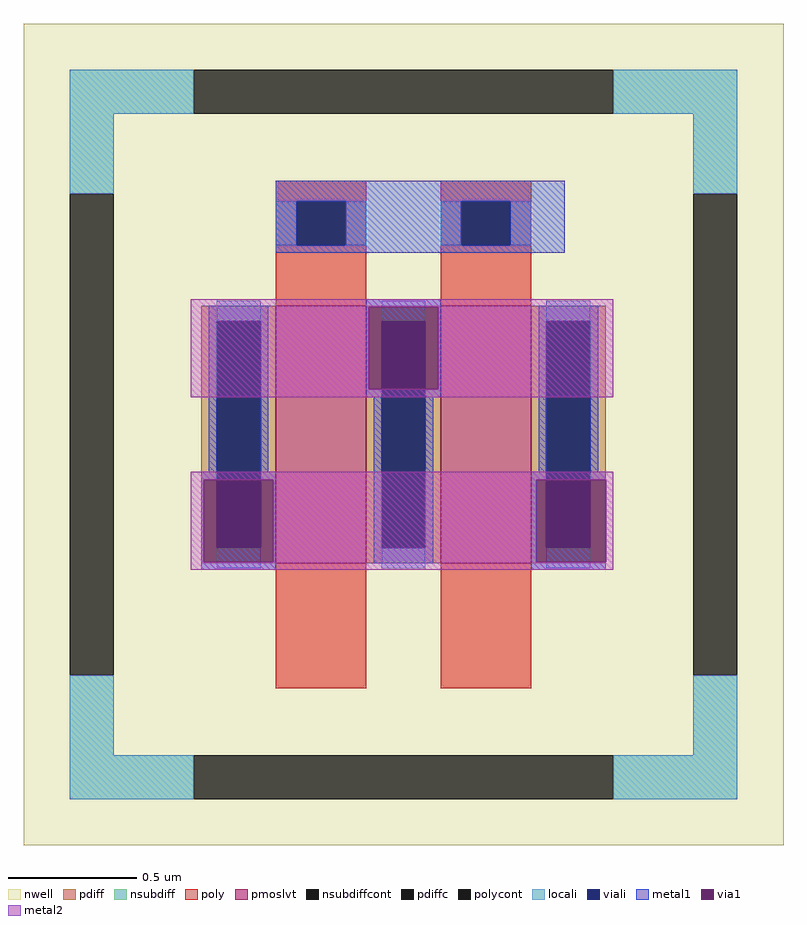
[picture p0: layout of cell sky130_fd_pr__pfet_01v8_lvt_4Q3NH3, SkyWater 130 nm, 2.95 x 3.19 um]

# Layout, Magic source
magic
tech sky130A
magscale 1 2
<< nwell >>
rect -296 -320 294 318
<< pmoslvt >>
rect -100 -101 -30 99
rect 28 -101 98 99
<< pdiff >>
rect -158 87 -100 99
rect -158 -89 -146 87
rect -112 -89 -100 87
rect -158 -101 -100 -89
rect -30 87 28 99
rect -30 -89 -18 87
rect 16 -89 28 87
rect -30 -101 28 -89
rect 98 87 156 99
rect 98 -89 110 87
rect 144 -89 156 87
rect 98 -101 156 -89
<< pdiffc >>
rect -146 -89 -112 87
rect -18 -89 16 87
rect 110 -89 144 87
<< nsubdiff >>
rect -260 248 -164 282
rect 162 248 258 282
rect -260 186 -226 248
rect 224 186 258 248
rect -260 -250 -226 -188
rect 224 -250 258 -188
rect -260 -284 -164 -250
rect 162 -284 258 -250
<< nsubdiffcont >>
rect -164 248 162 282
rect -260 -188 -226 186
rect 224 -188 258 186
rect -164 -284 162 -250
<< poly >>
rect -100 180 -30 196
rect -100 146 -84 180
rect -46 146 -30 180
rect -100 99 -30 146
rect 28 180 98 196
rect 28 146 44 180
rect 82 146 98 180
rect 28 99 98 146
rect -100 -198 -30 -101
rect 28 -198 98 -101
<< polycont >>
rect -84 146 -46 180
rect 44 146 82 180
<< locali >>
rect -260 248 -164 282
rect 162 248 258 282
rect -260 186 -226 248
rect 224 186 258 248
rect -100 146 -84 180
rect -46 146 -30 180
rect 28 146 44 180
rect 82 146 98 180
rect -146 87 -112 103
rect -146 -105 -112 -89
rect -18 87 16 103
rect -18 -105 16 -89
rect 110 87 144 103
rect 110 -105 144 -89
rect -260 -250 -226 -188
rect 224 -250 258 -188
rect -260 -284 -164 -250
rect 162 -284 258 -250
<< viali >>
rect -84 146 -46 180
rect 44 146 82 180
rect -146 -89 -112 87
rect -18 -89 16 87
rect 110 -89 144 87
<< metal1 >>
rect -100 180 124 196
rect -100 146 -84 180
rect -46 146 44 180
rect 82 146 124 180
rect -100 140 124 146
rect -152 87 -106 99
rect -152 -30 -146 87
rect -158 -36 -146 -30
rect -112 -30 -106 87
rect -30 98 28 104
rect -30 34 -28 98
rect 26 34 28 98
rect -30 28 -18 34
rect -112 -36 -100 -30
rect -158 -100 -156 -36
rect -102 -100 -100 -36
rect -158 -106 -100 -100
rect -24 -89 -18 28
rect 16 28 28 34
rect 104 87 150 99
rect 16 -89 22 28
rect 104 -30 110 87
rect -24 -101 22 -89
rect 98 -36 110 -30
rect 144 -30 150 87
rect 144 -36 156 -30
rect 98 -100 102 -36
rect 98 -106 156 -100
<< via1 >>
rect -28 87 26 98
rect -28 34 -18 87
rect -18 34 16 87
rect 16 34 26 87
rect -156 -89 -146 -36
rect -146 -89 -112 -36
rect -112 -89 -102 -36
rect -156 -100 -102 -89
rect 102 -89 110 -36
rect 110 -89 144 -36
rect 144 -89 156 -36
rect 102 -100 156 -89
<< metal2 >>
rect -166 98 162 104
rect -166 34 -28 98
rect 26 34 162 98
rect -166 28 162 34
rect -166 -36 162 -30
rect -166 -100 -156 -36
rect -102 -100 102 -36
rect 156 -100 162 -36
rect -166 -106 162 -100
<< properties >>
string FIXED_BBOX -242 -266 242 266
string gencell sky130_fd_pr__pfet_01v8_lvt
string library sky130
string parameters w 1.0 l 0.35 m 1 nf 2 diffcov 100 polycov 100 guard 1 glc 1 grc 1 gtc 1 gbc 1 tbcov 100 rlcov 100 topc 1 botc 1 poverlap 0 doverlap 1 lmin 0.35 wmin 0.42 compatible {sky130_fd_pr__pfet_01v8  sky130_fd_pr__pfet_01v8_lvt sky130_fd_pr__pfet_01v8_hvt  sky130_fd_pr__pfet_g5v0d10v5} full_metal 1 viasrc 100 viadrn 100 viagate 100 viagb 0 viagr 0 viagl 0 viagt 0
<< end >>
